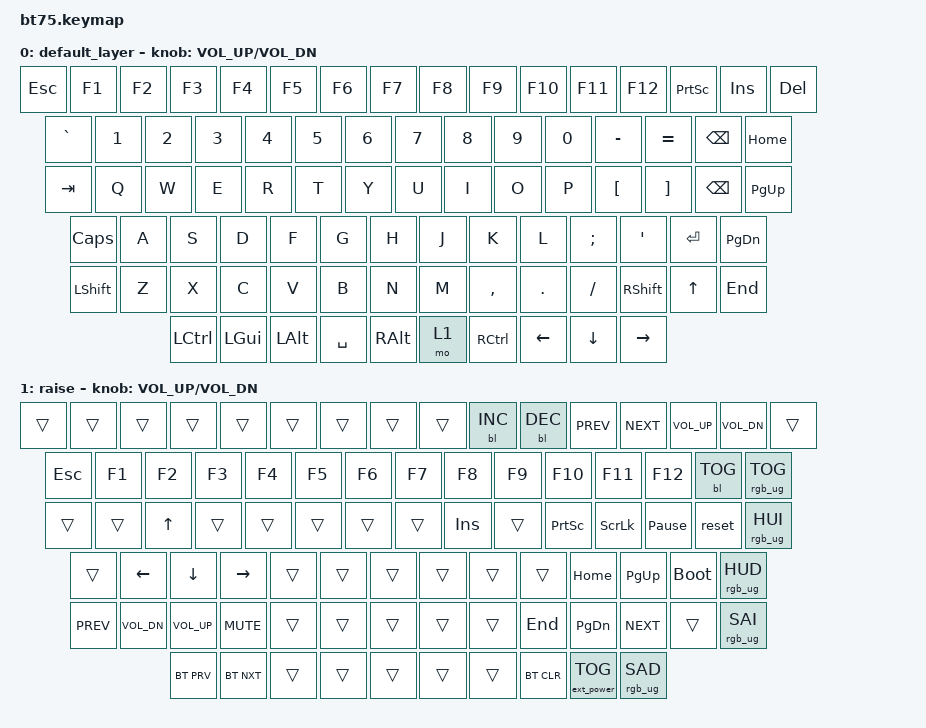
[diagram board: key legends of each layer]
#include <behaviors.dtsi>
#include <dt-bindings/zmk/keys.h>
#include <dt-bindings/zmk/bt.h>
#include <dt-bindings/zmk/rgb.h>
#include <dt-bindings/zmk/backlight.h>
#include <dt-bindings/zmk/ext_power.h>


/ {
	keymap {
		compatible = "zmk,keymap";
		default_layer {
				// ------------------------------------------------------------------------------------------------------------
				// | ESC | F1  | F2  | F3  | F4  | F5  | F6  | F7  | F9  | F9  | F10 | F11 | F12 | DEL | RGB tog | RGB HUI		|
				// |  `  |  1  |  2  |  3  |  4  |  5  |  6  |  7  |  8  |  9  |  0  |  -  |  =  |   BKSP   | BACKlight tog		|
				// | TAB  |  Q  |  W  |  E  |  R  |  T  |  Y  |  U  |  I  |  O  |  P  |  [  |  ]  |   |    | backlight up			|
				// | CAPS  |  A  |  S  |  D  |  F  |  G  |  H  |  J  |  K  |  L  |  ;  |  '  |     ENTER    | backlight down	|
				// |  SHIFT    |  Z  |  X  |  C  |  V  |  B  |  N  |  M  |  ,  |  .  | /   |      SHIFT     | bootloader			|
				// |  CTL  |  WIN  |  ALT  |            SPACE               | ALT | 1    |  MENU    |  CTRL    | reset				|
				// ------------------------------------------------------------------------------------------------------------
			bindings = <
				&kp ESC &kp F1 &kp F2 &kp F3 &kp F4 &kp F5 &kp F6 &kp F7 &kp  F8   &kp  F9 &kp  F10  &kp F11 &kp F12   &kp PSCRN &kp INS &kp DEL
				&kp GRAVE &kp N1 &kp N2 &kp N3 &kp N4 &kp N5 &kp N6 &kp N7 &kp  N8   &kp  N9   &kp N0 &kp MINUS &kp EQUAL &kp BKSP &kp HOME
				&kp TAB  &kp Q  &kp W  &kp E  &kp R  &kp T  &kp Y  &kp U  &kp  I    &kp  O  &kp  P   &kp LBKT &kp RBKT  	&kp BSPC &kp PG_UP
				&kp CLCK  &kp A  &kp S  &kp D  &kp F  &kp G  &kp H  &kp J  &kp  K    &kp  L  &kp SEMI &kp SQT           	&kp RET &kp PG_DN
				&kp LSHFT  &kp Z  &kp X  &kp C  &kp V  &kp B  &kp N  &kp M  &kp COMMA &kp DOT &kp FSLH              &kp RSHFT &kp UP &kp END
				&kp LCTRL &kp LGUI &kp LALT            &kp SPACE                          &kp RALT  &mo 1 &kp RCTRL &kp LEFT &kp DOWN &kp RIGHT
			>;
			sensor-bindings = <&inc_dec_kp C_VOL_UP C_VOL_DN>;
		};
		raise {
			bindings = <
				&trans &trans &trans &trans &trans &trans &trans &trans &trans &bl BL_INC &bl BL_DEC &kp C_PREV &kp C_NEXT &kp C_VOL_UP &kp C_VOL_DN &trans
				&kp ESC &kp F1 &kp F2 &kp F3 &kp F4 &kp F5 &kp F6 &kp F7 &kp  F8   &kp  F9   &kp F10  &kp F11 &kp F12 &bl BL_TOG &rgb_ug RGB_TOG
				&trans &trans &kp UP &trans &trans &trans &trans &trans &kp INS &trans &kp PSCRN &kp SLCK &kp PAUSE_BREAK &reset &rgb_ug RGB_HUI
				&trans    &kp LEFT &kp DOWN &kp RIGHT &trans &trans &trans &trans &trans &trans &kp HOME  &kp PG_UP   &bootloader &rgb_ug RGB_HUD
				&kp C_PREV &kp C_VOL_DN &kp C_VOL_UP &kp C_MUTE &trans &trans &trans &trans &trans &kp END &kp PG_DN  &kp C_NEXT &trans &rgb_ug RGB_SAI
				&bt BT_PRV &bt BT_NXT  &trans              &trans                            &trans   &trans   &trans &bt BT_CLR &ext_power EP_TOG &rgb_ug RGB_SAD
			>;
			sensor-bindings = <&inc_dec_kp C_VOL_UP C_VOL_DN>;
		};
	};
};
